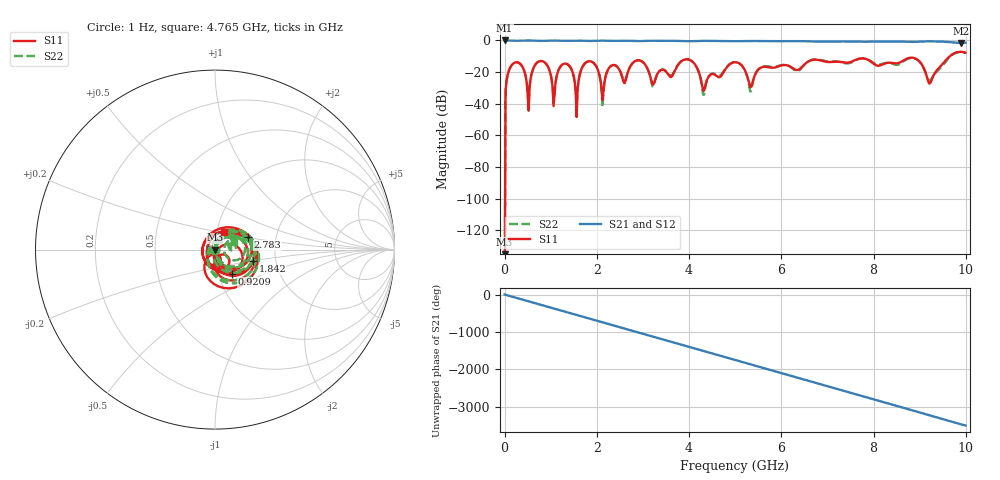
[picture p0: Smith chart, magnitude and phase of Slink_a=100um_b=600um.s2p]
! TouchStone data converted from IdEM dataset
# Hz S DB R 50
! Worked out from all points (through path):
!   500 points, 1 Hz to 9.99 GHz, reference 50 ohm
!   highest |S21| = 0.00 dB at 1 Hz (marker M1); lowest = -1.6 dB at 9.89 GHz (marker M2)
!   group delay of S21, straight-line fit = 972 ps
!   lowest |S11| = -177.9 dB at 1 Hz (marker M3), VSWR 1.00, Z = 50 + j1.27e-07 ohm
!   |S11| at or under -10 dB: start of sweep to 9.651 GHz
!   |S22| runs from -177.9 to -7.3 dB; largest |S21 - S12| = 3.9e-15
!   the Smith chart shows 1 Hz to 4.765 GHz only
!   S11 on the Smith chart (normalised r, x): 1 Hz: 1.00, +0.00; 920.9 MHz: 1.16, -0.32; 1.842 GHz: 1.52, -0.21; 2.783 GHz: 1.43, +0.21; 4.765 GHz: 1.08, +0.22
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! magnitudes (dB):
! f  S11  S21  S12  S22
! 1 Hz  -177.9  0.0  0.0  -177.9
! 60.06 MHz  -22.6  0.0  0.0  -22.6
! 140.1 MHz  -16.2  -0.1  -0.1  -16.2
! 520.5 MHz  -44.1  0.0  0.0  -44.5
! 920.9 MHz  -15.6  -0.2  -0.2  -15.6
! 1.061 GHz  -41.5  -0.1  -0.1  -40.0
! 1.381 GHz  -15.4  -0.2  -0.2  -15.4
! 1.562 GHz  -48.4  -0.1  -0.1  -42.4
! 1.682 GHz  -17.1  -0.2  -0.2  -17.1
! 1.842 GHz  -13.1  -0.3  -0.3  -13.1
! 2.122 GHz  -37.7  -0.1  -0.1  -41.7
! 2.783 GHz  -14.1  -0.3  -0.3  -14.1
! 3.343 GHz  -19.8  -0.2  -0.2  -19.8
! 4.324 GHz  -31.7  -0.2  -0.2  -34.2
! 4.765 GHz  -19.2  -0.3  -0.3  -18.8
! 5.005 GHz  -13.8  -0.5  -0.5  -13.7
! 5.345 GHz  -29.3  -0.3  -0.3  -31.9
! 6.667 GHz  -12.4  -0.7  -0.7  -12.2
! 8.328 GHz  -14.1  -0.7  -0.7  -14.2
! 9.229 GHz  -26.9  -0.6  -0.6  -25.4
! 9.89 GHz  -7.2  -1.6  -1.6  -7.3
! 9.99 GHz  -7.8  -1.5  -1.5  -7.9
